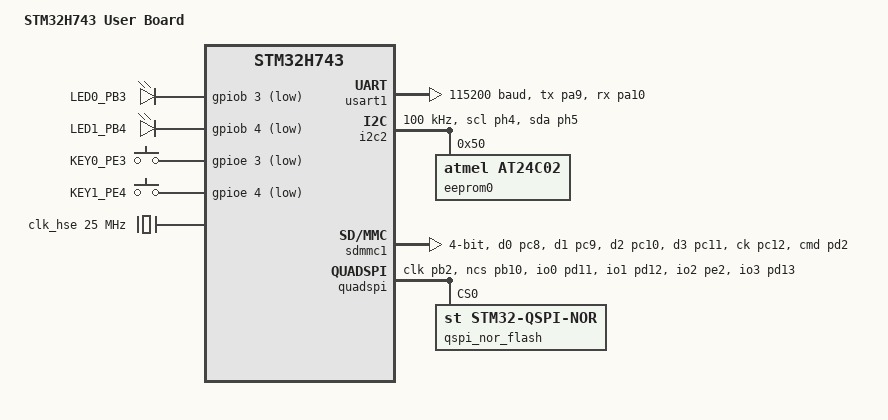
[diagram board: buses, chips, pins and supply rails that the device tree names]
/dts-v1/;
#include <st/h7/stm32h743Xi.dtsi>
#include <st/h7/stm32h743iitx-pinctrl.dtsi>
#include <zephyr/dt-bindings/input/input-event-codes.h>

/ {
	model = "STM32H743 User Board";
	compatible = "wj,stm32h743-user";

	chosen {
		zephyr,console = &usart1;
		zephyr,shell-uart = &usart1;
		zephyr,sram = &sram0;
		zephyr,flash = &flash0;
		zephyr,flash-controller = &qspi_nor_flash;
	};

	leds {
		compatible = "gpio-leds";

		led0: led_0 {
			gpios = <&gpiob 3 GPIO_ACTIVE_LOW>;
			label = "LED0_PB3";
		};
		led1: led_1 {
			gpios = <&gpiob 4 GPIO_ACTIVE_LOW>;
			label = "LED1_PB4";
		};
	};

	gpio_keys {
		compatible = "gpio-keys";

		button0: button_0 {
			label = "KEY0_PE3";
			gpios = <&gpioe 3 (GPIO_ACTIVE_LOW | GPIO_PULL_UP)>;
			zephyr,code = <INPUT_KEY_0>;
		};

		button1: button_1 {
			label = "KEY1_PE4";
			gpios = <&gpioe 4 (GPIO_ACTIVE_LOW | GPIO_PULL_UP)>;
			zephyr,code = <INPUT_KEY_1>;
		};
	};

	aliases {
		led0 = &led0;
		led1 = &led1;
		sw0 = &button0;
		sw1 = &button1;
		eeprom0 = &eeprom0;
		watchdog0 = &iwdg;
	};
};

&clk_lsi {
	status = "okay";
};

&clk_hsi48 {
	status = "okay";
};

&clk_hse {
	clock-frequency = <DT_FREQ_M(25)>;
	status = "okay";
};

&pll {
	div-m = <5>;
	mul-n = <96>;
	div-p = <2>;
	div-q = <10>;
	div-r = <2>;
	clocks = <&clk_hse>;
	status = "okay";
};

&rcc {
	clocks = <&pll>;
	clock-frequency = <DT_FREQ_M(240)>;
	d1cpre = <1>;
	hpre = <2>;
	d1ppre = <1>;
	d2ppre1 = <1>;
	d2ppre2 = <1>;
	d3ppre = <1>;
};

&pwr {
	power-supply = "ldo";
};

&usart1 {
	pinctrl-0 = <&usart1_tx_pa9 &usart1_rx_pa10>;
	pinctrl-names = "default";
	current-speed = <115200>;
	status = "okay";
};

&i2c2 {
	pinctrl-0 = <&i2c2_scl_ph4 &i2c2_sda_ph5>;
	pinctrl-names = "default";
	clock-frequency = <I2C_BITRATE_STANDARD>;
	status = "okay";

	eeprom0: eeprom@50 {
		compatible = "atmel,at24c02", "atmel,at24";
		reg = <0x50>;
		size = <256>;
		pagesize = <8>;
		address-width = <8>;
		timeout = <5>;
	};
};

&sdmmc1 {
	pinctrl-0 = <&sdmmc1_d0_pc8 &sdmmc1_d1_pc9 &sdmmc1_d2_pc10
	&sdmmc1_d3_pc11 &sdmmc1_ck_pc12 &sdmmc1_cmd_pd2>;
	pinctrl-names = "default";
	bus-width = <4>;
	cd-gpios = <&gpiod 3 (GPIO_ACTIVE_LOW | GPIO_PULL_UP)>;
	disk-name = "SD";
	status = "okay";
};

&quadspi {
	pinctrl-0 = <&quadspi_clk_pb2 &quadspi_bk1_ncs_pb10
	&quadspi_bk1_io0_pd11 &quadspi_bk1_io1_pd12
	&quadspi_bk1_io2_pe2 &quadspi_bk1_io3_pd13>;
	pinctrl-names = "default";
	flash-id = <1>;
	status = "okay";

	qspi_nor_flash: qspi-nor-flash@0 {
		compatible = "st,stm32-qspi-nor";
		reg = <0>;
		size = <DT_SIZE_M(16)>;
		qspi-max-frequency = <40000000>;
		cs-high-time = <2>;
		spi-bus-width = <4>;
		writeoc = "PP_1_1_4";
		status = "okay";
	};
};
